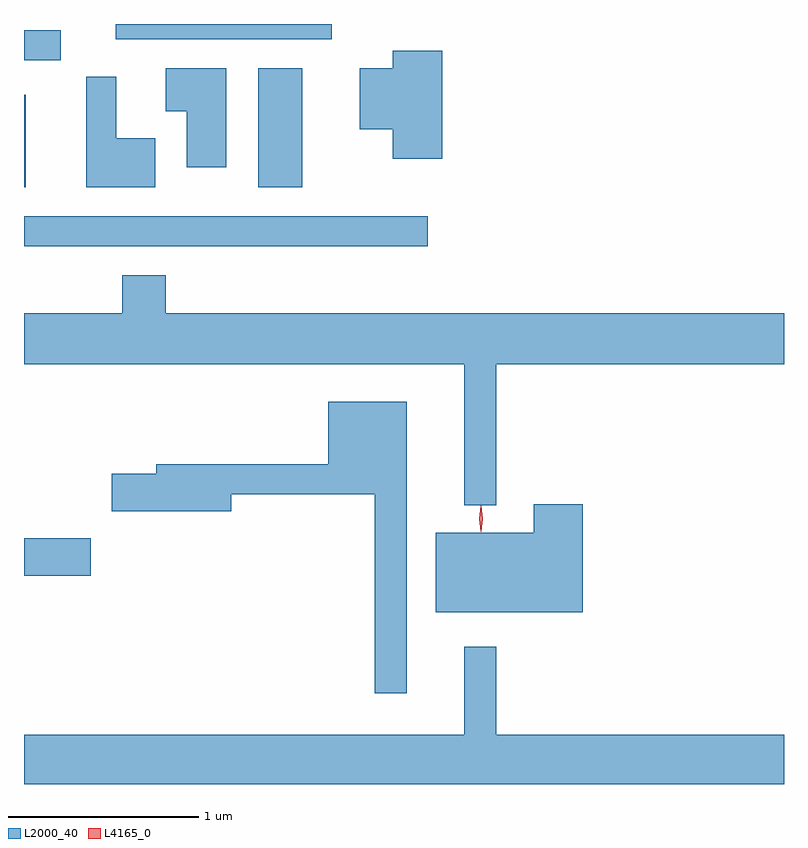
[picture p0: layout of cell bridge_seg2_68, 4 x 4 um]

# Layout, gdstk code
import gdstk
lib = gdstk.Library(unit=1e-6, precision=1e-09)
def R(c, l, rs):  # rectangles x0, y0, x1, y1
    for r in rs: c.add(gdstk.rectangle(r[:2], r[2:], *l))
def P(c, l, *ps):  # polygons
    for p in ps: c.add(gdstk.Polygon(p, *l))
L2000_40 = (2000, 40)
L4165_0 = (4165, 0)

bridge_seg2_68 = lib.new_cell('bridge_seg2_68')
R(bridge_seg2_68, L2000_40, [(1125.744,1073.841,1126.094,1074.039), (1125.744,1075.576,1127.868,1075.734), (1125.744,1075.886,1125.754,1076.374), (1126.976,1075.886,1127.209,1076.514), (1125.744,1076.556,1125.938,1076.714), (1126.226,1076.666,1127.364,1076.746)])
P(bridge_seg2_68, L2000_40, [(1127.944,1076.604),(1127.686,1076.604),(1127.686,1076.514),(1127.511,1076.514),(1127.511,1076.191),(1127.686,1076.191),(1127.686,1076.036),(1127.944,1076.036)],
  [(1126.809,1076.514),(1126.491,1076.514),(1126.491,1076.286),(1126.601,1076.286),(1126.601,1075.991),(1126.809,1075.991)],
  [(1126.434,1076.144),(1126.229,1076.144),(1126.229,1076.468),(1126.071,1076.468),(1126.071,1075.886),(1126.434,1075.886)],
  [(1128.229,1074.956),(1129.744,1074.956),(1129.744,1075.224),(1126.489,1075.224),(1126.489,1075.424),(1126.261,1075.424),(1126.261,1075.224),(1125.744,1075.224),(1125.744,1074.956),(1128.061,1074.956),(1128.061,1074.213),(1128.229,1074.213)],
  [(1127.759,1074.759),(1127.346,1074.759),(1127.346,1074.429),(1126.441,1074.429),(1126.441,1074.379),(1126.206,1074.379),(1126.206,1074.181),(1126.834,1074.181),(1126.834,1074.271),(1127.591,1074.271),(1127.591,1073.223),(1127.759,1073.223)],
  [(1128.684,1074.219),(1128.426,1074.219),(1128.426,1074.069),(1127.911,1074.069),(1127.911,1073.651),(1128.684,1073.651)],
  [(1129.744,1073.004),(1128.229,1073.004),(1128.229,1073.468),(1128.061,1073.468),(1128.061,1073.004),(1125.744,1073.004),(1125.744,1072.746),(1129.744,1072.746)])
P(bridge_seg2_68, L4165_0, [(1128.149,1074.074),(1128.139,1074.142),(1128.149,1074.21),(1128.149,1074.21),(1128.15,1074.21),(1128.159,1074.142),(1128.15,1074.074),(1128.15,1074.074)])

lib.write_gds('bridge_seg2_68.gds')
